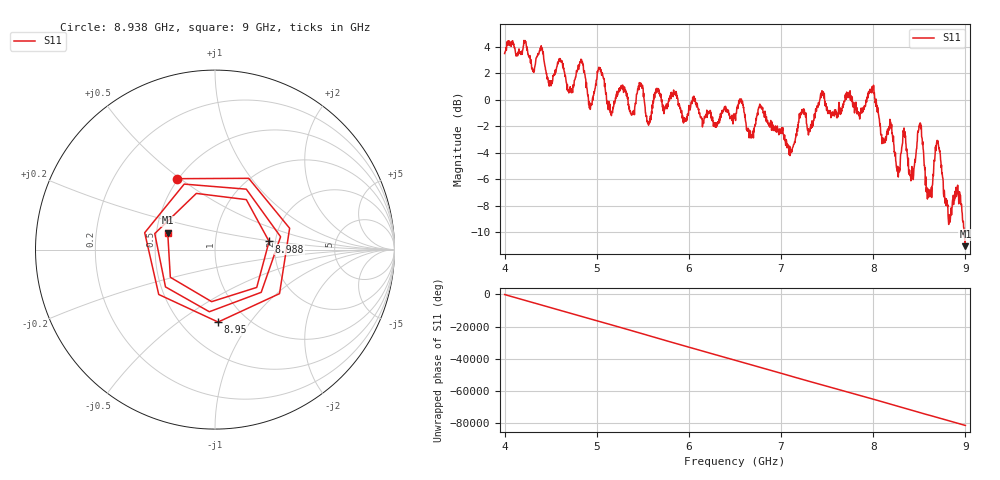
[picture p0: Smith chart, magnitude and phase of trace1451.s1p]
! Created with skrf 1.8.0 (http://scikit-rf.org).
# Hz S RI R 50.0
!freq ReS11 ImS11
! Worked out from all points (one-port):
!   1601 points, 4 GHz to 9 GHz, reference 50 ohm
!   lowest |S11| = -11.1 dB at 9 GHz (marker M1), VSWR 1.78, Z = 28.7 + j5.88 ohm
!   |S11| at or under -10 dB: 8.986043 GHz to end of sweep
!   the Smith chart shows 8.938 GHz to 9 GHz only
!   S11 on the Smith chart (normalised r, x): 8.938 GHz: 0.49, +0.49; 8.95 GHz: 0.74, -0.72; 8.988 GHz: 1.85, +0.19; 9 GHz: 0.57, +0.12
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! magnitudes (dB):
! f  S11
! 4 GHz  3.5
! 4.625 GHz  2.9
! 4.712 GHz  1.0
! 4.841 GHz  2.8
! 4.934 GHz  -0.4
! 5.031 GHz  2.4
! 5.147 GHz  -1.0
! 5.25 GHz  0.7
! 5.384 GHz  -1.1
! 5.478 GHz  1.2
! 5.562 GHz  -1.9
! 5.875 GHz  0.1
! 6.5 GHz  -1.2
! 7.125 GHz  -3.6
! 7.225 GHz  -0.7
! 7.75 GHz  0.7
! 7.988 GHz  1.0
! 8.106 GHz  -3.2
! 8.375 GHz  -4.5
! 8.422 GHz  -5.4
! 8.506 GHz  -2.0
! 8.6 GHz  -7.3
! 8.7 GHz  -3.1
! 8.812 GHz  -8.8
! 8.938 GHz  -7.0
! 8.95 GHz  -7.9
! 8.988 GHz  -10.3
! 9 GHz  -11.1
